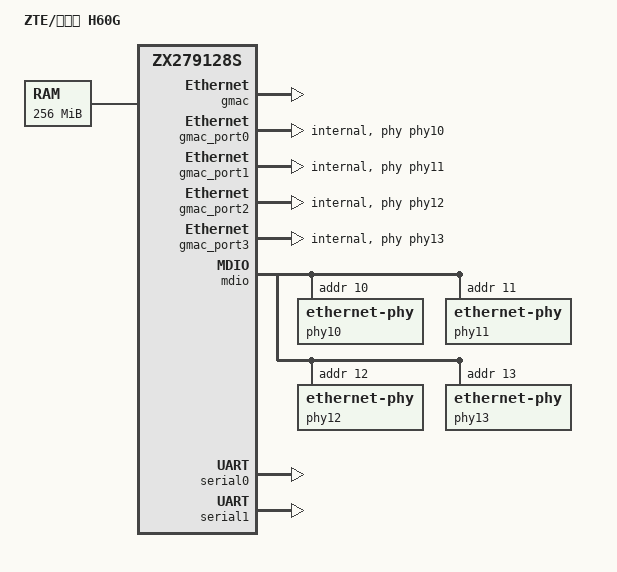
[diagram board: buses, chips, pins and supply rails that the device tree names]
// SPDX-License-Identifier: GPL-2.0-only OR BSD-2-Clause
/*
 * ZTE/吉比特 H60G (中国移动 GPON ONU) -- board file for the
 * Zlion-Y/zte-e2631-openwrt (Sanechips ZX279128S, Linux 6.18) tree.
 *
 * GOAL: run it as a PLAIN WIRED ROUTER. The PON/optical side is ignored.
 *       Only the SoC, the integrated GbE ports and the UART are needed.
 *
 * ============================================================================
 * REVISION 2 -- 2026-11-27, derived from REAL serial boot log
 *   G:\Downloads\serial-2026-11-27-103619.txt
 * All values below marked [MEASURED] came from that log, not from a template.
 * ============================================================================
 *
 * [MEASURED] hardware facts from the boot log:
 *   SoC      : U-Boot prints "ZX279127S@A9"; Linux DTS reports
 *              "Machine model: ZTE ZX279128S", CPU part 0x414fc091 (A9 r1).
 *              -> same ZX27912x family; we keep compatible = zx279128s so the
 *                 existing mainline driver/DTS work is reused.
 *   RAM      : 256 MiB  (U-Boot DRAM: 256 MiB, CONFIG_SYS_SDRAM_SIZE=0x10000000;
 *              Linux "Memory: 208460K/262144K available").  TODO #5 CLOSED.
 *   UART     : ttyAMA0, 115200n8.                          TODO (console) CLOSED.
 *   Ethernet : GMAC SYS FS init OK; 4 FE ports (IGD.LD1.ETH1..ETH4) all present.
 *
 *   !! CRITICAL DIFFERENCE FROM E2631 / H3600 !!
 *   [MEASURED] FLASH is a PARALLEL NAND, NOT SPI-NAND:
 *       U-Boot: "Manu ID: 0x98, Chip ID: 0xda (Toshiba NAND 256MiB 3,3V 8-bit)"
 *       Linux : "nand: Toshiba NAND 256MiB 3,3V 8-bit"
 *               "nand: 256 MiB, SLC, erase size: 128 KiB, page size: 2048,
 *                OOB size: 64"
 *               "Creating 15 MTD partitions on \"denali-nand\""
 *               "spi nand not exist!"
 *   -> E2631/H3600 use a 128MiB SPI-NAND on &spifc (compatible "spi-nand").
 *      H60G has NO spi-nand at all. The &spifc block at the bottom of this
 *      file is therefore DISABLED (#if 0) and MUST NOT be used for flashing.
 *
 *   THE BLOCKER: the mainline 6.18 tree (patch 026 zx279128s.dtsi) defines ONLY
 *   `spifc: spi@94406000` (SPI NAND). It has NO parallel-NAND / denali node,
 *   and config-6.18 has CONFIG_MTD_RAW_NAND=y but no denali controller binding.
 *   => The mainline kernel currently CANNOT see a single byte of H60G's flash.
 *   => You can boot initramfs over TFTP and use the box as a router in RAM,
 *      but you CANNOT persist to NAND until a parallel-NAND controller driver
 *      + DT node is ported for this SoC. See README §"闪存阻塞" and FLASHING.md.
 *
 * [MEASURED] complete 15-partition table (from the same boot log) is recorded
 *   verbatim in README.md §5 and probe-h60g.sh. Kernel1 / kernel0 are 32 MiB
 *   each; those are the intended OpenWrt targets once NAND support exists.
 *
 * Things STILL unknown (need original-shell commands, see probe-h60g.sh):
 *   - status LED GPIO                                 -> TODO(H60G) #2
 *   - reset key GPIO                                  -> TODO(H60G) #3
 *   - MAC cell offset in parameter-tags partition     -> TODO(H60G) #4
 */

/dts-v1/;

#include "zte/zx279128s.dtsi"
#include <dt-bindings/gpio/gpio.h>
#include <dt-bindings/input/input.h>
#include <dt-bindings/leds/common.h>

/ {
	model = "ZTE/吉比特 H60G";
	compatible = "zte,h60g", "zte,zx279128s";

	aliases {
		ethernet0 = &gmac;
		serial0 = &serial0;
		serial1 = &serial1;
	};

	chosen {
		stdout-path = "serial0:115200n8";
	};

	/* [MEASURED] 256 MiB. U-Boot also prints 0x10000000. */
	memory@40000000 {
		device_type = "memory";
		reg = <0x40000000 0x10000000>;	/* 256 MiB */
	};

	/* Packet-processor reserve, kept from the H3600 baseline. */
	reserved-memory {
		#address-cells = <1>;
		#size-cells = <1>;
		ranges;

		pp@5da00000 {
			reg = <0x5da00000 0x2600000>;
			no-map;
		};
	};

	/*
	 * TODO(H60G) #2/#3: LED and reset GPIOs differ from E2631/H3600.
	 * Disabled so a first boot is not blocked by a wrong GPIO.
	 * Get flat GPIO from the vendor shell:
	 *   cat /proc/zte/ledkey_m/led    and   cat /proc/zte/ledkey_m/key
	 * flat = controller*16 + line, e.g. flat 40 = gpio2 8.
	 */
#if 0
	leds {
		compatible = "gpio-leds";
		led_status: led-status {
			color = <LED_COLOR_ID_GREEN>;
			function = LED_FUNCTION_STATUS;
			gpios = <&gpio2 8 GPIO_ACTIVE_LOW>;	/* TODO(H60G) #2 */
			default-state = "off";
		};
	};

	keys {
		compatible = "gpio-keys-polled";
		poll-interval = <50>;
		key-reset {
			label = "reset";
			gpios = <&gpio1 2 GPIO_ACTIVE_LOW>;	/* TODO(H60G) #3 */
			linux,code = <KEY_RESTART>;
			debounce-interval = <60>;
		};
	};
#endif
};

/*
 * ---- Ethernet: integrated GbE ports ---------------------------------------
 * [MEASURED] all four electrical ports come up as IGD.LD1.ETH1..ETH4.
 * H60G's WAN is the PON; for a plain wired router we designate one electrical
 * port as WAN. PHY addresses 0xa..0xd are inherited from E2631 and UNVERIFIED.
 * Confirm on first boot:
 *   ls /sys/bus/mdio_bus/devices      -> expect 0-000a .. 0-000d
 *   cat /sys/class/net/eth?/phydev    (note: '?' avoids a DTS comment-close)
 * If they differ, adjust the `reg` values in &mdio below.
 */
&gmac {
	status = "okay";
};

/*
 * REV3 FIX (2026-11-27): the original ports referenced <&macaddr_tag_1e>,
 * an nvmem cell defined only inside the #if 0 &spifc block below. That label
 * does not exist in the compiled DTS (no SPI-NAND on this board), so dtc
 * fails with "label 'macaddr_tag_1e' not found / unresolved phandle".
 *
 * For a RAM-booted initramfs we do not need NAND-backed MAC at all. Use the
 * REAL WAN MAC measured from the vendor OSGi log (78:C6:2B:33:A9:68) as a
 * static property. Bytes 3..5 are incremented per port so each interface gets
 * a unique MAC, matching the vendor's own scheme. Set the canonical MAC on
 * the WAN port; LAN ports get +1..+3. When the parallel-NAND driver is ported
 * this can be switched back to the nvmem cell so it survives config resets.
 */
&gmac_port0 {
	label = "lan3";
	phy-handle = <&phy10>;
	phy-mode = "internal";
	mac-address = [78 C6 2B 33 A9 69];	/* real MAC +1 */
	status = "okay";
};

&gmac_port1 {
	label = "lan2";
	phy-handle = <&phy11>;
	phy-mode = "internal";
	mac-address = [78 C6 2B 33 A9 6A];	/* real MAC +2 */
	status = "okay";
};

&gmac_port2 {
	label = "lan1";
	phy-handle = <&phy12>;
	phy-mode = "internal";
	mac-address = [78 C6 2B 33 A9 6B];	/* real MAC +3 */
	status = "okay";
};

&gmac_port3 {
	label = "wan";
	phy-handle = <&phy13>;
	phy-mode = "internal";
	mac-address = [78 C6 2B 33 A9 68];	/* [MEASURED] real WAN MAC */
	status = "okay";
};

/* SoC has 5 ports; H60G wires four electrical + one PON. */
&gmac_port4 {
	status = "disabled";
};

&mdio {
	status = "okay";

	phy10: ethernet-phy@a { reg = <10>; };
	phy11: ethernet-phy@b { reg = <11>; };
	phy12: ethernet-phy@c { reg = <12>; };
	phy13: ethernet-phy@d { reg = <13>; };
};

/* ---- UART: keep both enabled so the forced console is not silent ---------- */
&serial0 { status = "okay"; };
&serial1 { status = "okay"; };

/* ---- No WiFi on H60G: keep both PCIe controllers off --------------------- */
&pcie0 { status = "disabled"; };
&pcie1 { status = "disabled"; };

/* USB probed only after a stable wired-router boot. */
&usb { status = "disabled"; };

/* ---- Reboot shim (topcrm is claimed early by CLK_OF_DECLARE) -------------- */
/ {
	soc {
		crm1: syscon@94000000 {
			compatible = "syscon", "simple-mfd";
			reg = <0x94000000 0x1000>;
			#address-cells = <1>;
			#size-cells = <0>;

			reboot {
				compatible = "syscon-reboot";
				offset = <0x44>;
				mask = <0x1>;
				value = <0x1>;
			};
		};
	};
};

&l2cc {
	zte,l2c-io-read-lock;
};

/*
 * ============================================================================
 * ---- FLASH: DO NOT USE &spifc ON THIS BOARD -------------------------------
 * ============================================================================
 * [MEASURED] "spi nand not exist!" -- H60G has a 256 MiB PARALLEL NAND on the
 * denali controller, with these 15 partitions (verbatim from the boot log,
 * sorted by address). The H60G root filesystem will go into kernel1 once a
 * parallel-NAND driver exists in the mainline tree:
 *
 *   offset        size        label                note
 *   0x00000000    0x00200000  u-boot               read-only
 *   0x00200000    0x02000000  kernel0              32 MiB, boot slot A
 *   0x02200000    0x02000000  kernel1              32 MiB, boot slot B  <== target
 *   0x04200000    0x00600000  others               6 MiB
 *   0x04800000    0x00400000  parameter tags       4 MiB (MAC likely here)
 *   0x04c00000    0x00800000  usercfg              8 MiB
 *   0x05400000    0x00400000  middleware           4 MiB
 *   0x05800000    0x00400000  wlan                 4 MiB
 *   0x05c00000    0x00200000  phoneapp             2 MiB
 *   0x05e00000    0x00200000  phoneapp1            2 MiB
 *   0x06000000    0x01e00000  osgi                 30 MiB
 *   0x07e00000    0x01e00000  osgi1                30 MiB
 *   0x09c00000    0x06360000  plugin_data          ~99 MiB
 *   0x0ff60000    0x000a0000  GN25L95_datas        640 KiB
 *   whole flash   0x10000000  (whole flash)
 *
 * [MEASURED] factory bad blocks are present; nand_write MUST skip bad blocks:
 *   0x014c0000, 0x014e0000, 0x02ec0000, 0x08940000, 0x091c0000, 0x091e0000,
 *   0x0b300000, 0x0b320000, 0x0bb40000, 0x0bb80000, 0x0c000000, 0x0c020000,
 *   0x0d020000, 0x0d060000
 *
 * Because mainline 6.18 has no parallel-NAND DT node for this SoC, the block
 * below is intentionally disabled. Do NOT re-enable &spifc -- it points at a
 * controller this board does not have. When the denali driver is ported, add a
 * proper node here and move the partition table above into it.
 */
#if 0
&spifc {
	status = "disabled";
	flash@0 {
		compatible = "spi-nand";
		reg = <0>;
		spi-max-frequency = <50000000>;
		spi-rx-bus-width = <2>;
		spi-tx-bus-width = <1>;
		partitions {
			compatible = "fixed-partitions";
			#address-cells = <1>;
			#size-cells = <1>;

			partition@200000 {
				label = "kernel1";
				reg = <0x02200000 0x02000000>;
				nvmem-layout {
					compatible = "fixed-layout";
					#address-cells = <1>;
					#size-cells = <1>;
					macaddr_tag_1e: macaddr@1e {
						compatible = "mac-base";
						reg = <0x1e 0x6>;
						#nvmem-cell-cells = <1>;
					};
				};
			};

			partition@1700000 {
				label = "rootfs";
				reg = <0x01700000 0x02800000>;	/* obsolete placeholder */
			};
		};
	};
};
#endif
